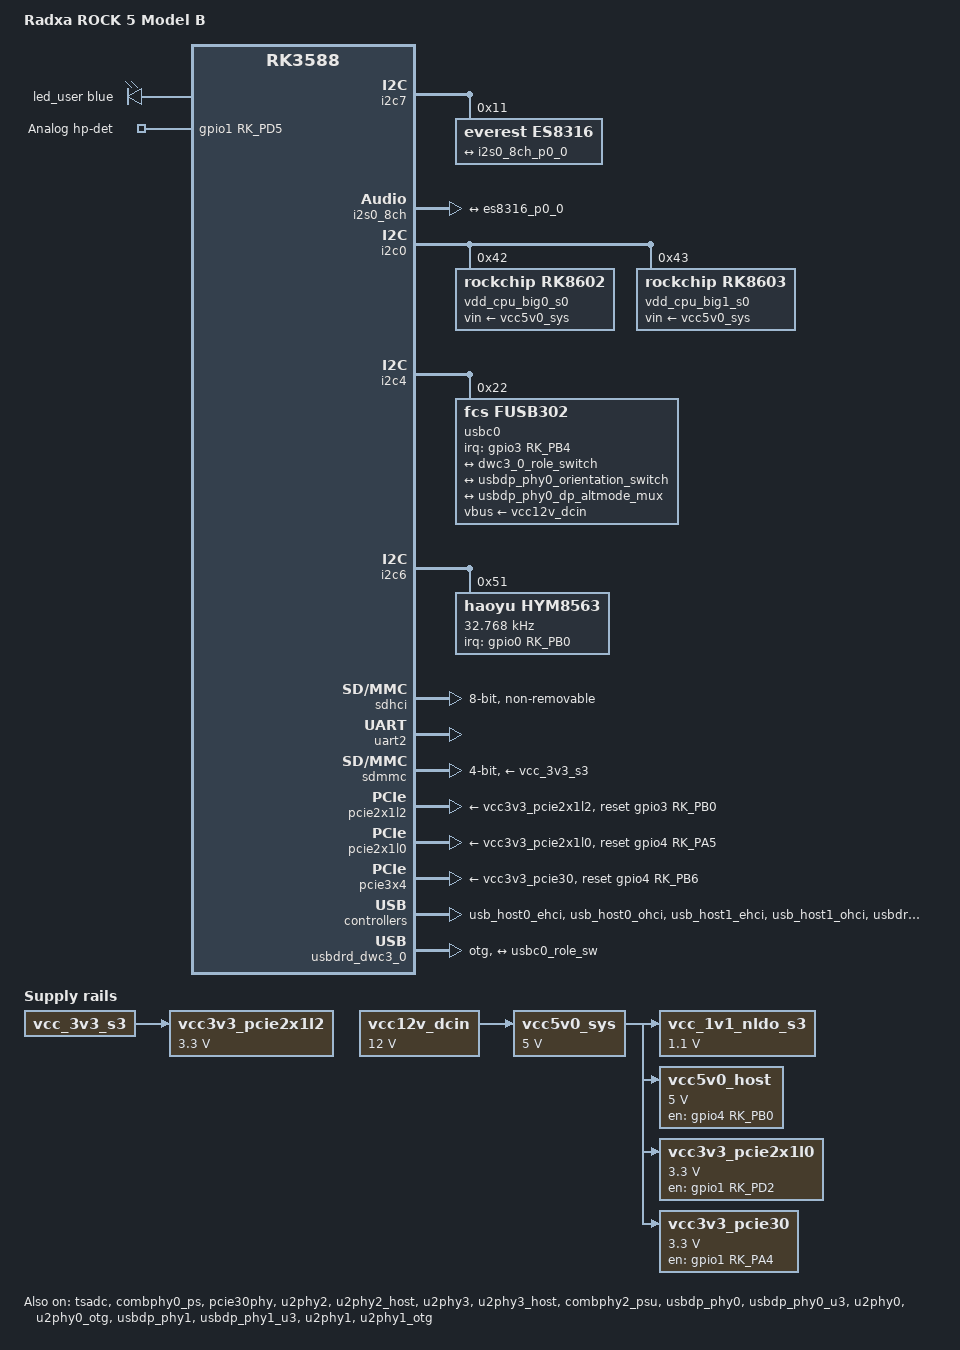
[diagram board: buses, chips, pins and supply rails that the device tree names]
// SPDX-License-Identifier: (GPL-2.0 OR MIT)

/dts-v1/;

#include <dt-bindings/gpio/gpio.h>
#include <dt-bindings/pinctrl/rockchip.h>
#include <dt-bindings/usb/pd.h>
#include <dt-bindings/leds/common.h>
#include "rk3588.dtsi"
#include "rk3588-rk806-single.dtsi"

/ {
	model = "Radxa ROCK 5 Model B";
	compatible = "radxa,rock-5b", "rockchip,rk3588";

	aliases {
		mmc0 = &sdhci;
		mmc1 = &sdmmc;
		serial2 = &uart2;
	};

	chosen {
		stdout-path = "serial2:1500000n8";
	};

	vcc12v_dcin: vcc12v-dcin {
		compatible = "regulator-fixed";
		regulator-name = "vcc12v_dcin";
		regulator-always-on;
		regulator-boot-on;
		regulator-min-microvolt = <12000000>;
		regulator-max-microvolt = <12000000>;
	};

	vcc5v0_sys: vcc5v0-sys {
		compatible = "regulator-fixed";
		regulator-name = "vcc5v0_sys";
		regulator-always-on;
		regulator-boot-on;
		regulator-min-microvolt = <5000000>;
		regulator-max-microvolt = <5000000>;
		vin-supply = <&vcc12v_dcin>;
	};

	vcc_1v1_nldo_s3: vcc-1v1-nldo-s3 {
		compatible = "regulator-fixed";
		regulator-name = "vcc_1v1_nldo_s3";
		regulator-always-on;
		regulator-boot-on;
		regulator-min-microvolt = <1100000>;
		regulator-max-microvolt = <1100000>;
		vin-supply = <&vcc5v0_sys>;
 	};

	vcc5v0_host: vcc5v0-host  {
		compatible = "regulator-fixed";
		regulator-name = "vcc5v0_host";
		regulator-boot-on;
		regulator-always-on;
		regulator-min-microvolt = <5000000>;
		regulator-max-microvolt = <5000000>;
		enable-active-high;
		gpio = <&gpio4 RK_PB0 GPIO_ACTIVE_HIGH>;
		pinctrl-names = "default";
		vin-supply = <&vcc5v0_sys>;
	};

	vcc3v3_pcie2x1l0: vcc3v3-pcie2x1l0 {
		compatible = "regulator-fixed";
		regulator-name = "vcc3v3_pcie2x1l0";
		regulator-min-microvolt = <3300000>;
		regulator-max-microvolt = <3300000>;
		enable-active-high;
		regulator-boot-on;
		regulator-always-on;
		gpios = <&gpio1 RK_PD2 GPIO_ACTIVE_HIGH>;
		startup-delay-us = <50000>;
		vin-supply = <&vcc5v0_sys>;
	};

	vcc3v3_pcie2x1l2: vcc3v3-pcie2x1l2 {
		compatible = "regulator-fixed";
		regulator-name = "vcc3v3_pcie2x1l2";
		regulator-min-microvolt = <3300000>;
		regulator-max-microvolt = <3300000>;
		startup-delay-us = <5000>;
		vin-supply = <&vcc_3v3_s3>;
	};

	vcc3v3_pcie30: vcc3v3-pcie30 {
		compatible = "regulator-fixed";
		regulator-name = "vcc3v3_pcie30";
		regulator-min-microvolt = <3300000>;
		regulator-max-microvolt = <3300000>;
		enable-active-high;
		gpios = <&gpio1 RK_PA4 GPIO_ACTIVE_HIGH>;
		startup-delay-us = <5000>;
		vin-supply = <&vcc5v0_sys>;
	};

	leds {
		compatible = "gpio-leds";

		led_user: led-0 {
			gpio = <&gpio0 RK_PB7 GPIO_ACTIVE_HIGH>;
			color = <LED_COLOR_ID_BLUE>;
			function = LED_FUNCTION_DISK_ACTIVITY;
			linux,default-trigger = "mmc1";
			pinctrl-names = "default";
			pinctrl-0 = <&led_user_en>;
		};
	};

	sound {
		compatible = "audio-graph-card";
		label = "Analog";

		widgets = "Microphone", "Mic Jack",
			  "Headphone", "Headphones";

		routing = "MIC2", "Mic Jack",
			  "Headphones", "HPOL",
			  "Headphones", "HPOR";

		dais = <&i2s0_8ch_p0>;
		hp-det-gpio = <&gpio1 RK_PD5 GPIO_ACTIVE_HIGH>;
		pinctrl-names = "default";
		pinctrl-0 = <&hp_detect>;
	};
};

&i2c7 {
	status = "okay";

	es8316: es8316@11 {
		compatible = "everest,es8316";
		reg = <0x11>;
		clocks = <&cru I2S0_8CH_MCLKOUT>;
		clock-names = "mclk";
		#sound-dai-cells = <0>;

		port {
			es8316_p0_0: endpoint {
				remote-endpoint = <&i2s0_8ch_p0_0>;
			};
		};
	};
};

&i2s0_8ch {
	pinctrl-names = "default";
	pinctrl-0 = <&i2s0_lrck
		     &i2s0_mclk
		     &i2s0_sclk
		     &i2s0_sdi0
		     &i2s0_sdo0>;
	status = "okay";

	i2s0_8ch_p0: port {
		i2s0_8ch_p0_0: endpoint {
			dai-format = "i2s";
			mclk-fs = <256>;
			remote-endpoint = <&es8316_p0_0>;
		};
	};
};

&i2c0 {
	pinctrl-names = "default";
	pinctrl-0 = <&i2c0m2_xfer>;
	status = "okay";

	vdd_cpu_big0_s0: vdd_cpu_big0_mem_s0: regulator@42 {
		compatible = "rockchip,rk8602";
		reg = <0x42>;
		fcs,suspend-voltage-selector = <1>;
		regulator-name = "vdd_cpu_big0_s0";
		regulator-always-on;
		regulator-boot-on;
		regulator-min-microvolt = <550000>;
		regulator-max-microvolt = <1050000>;
		regulator-ramp-delay = <2300>;
		vin-supply = <&vcc5v0_sys>;

		regulator-state-mem {
			regulator-off-in-suspend;
		};
	};

	vdd_cpu_big1_s0: vdd_cpu_big1_mem_s0: regulator@43 {
		compatible = "rockchip,rk8603", "rockchip,rk8602";
		reg = <0x43>;
		fcs,suspend-voltage-selector = <1>;
		regulator-name = "vdd_cpu_big1_s0";
		regulator-always-on;
		regulator-boot-on;
		regulator-min-microvolt = <550000>;
		regulator-max-microvolt = <1050000>;
		regulator-ramp-delay = <2300>;
		vin-supply = <&vcc5v0_sys>;

		regulator-state-mem {
			regulator-off-in-suspend;
		};
	};
};

&i2c4 {
	usbc0: fusb302@22 {
	compatible = "fcs,fusb302";
		reg = <0x22>;
		interrupt-parent = <&gpio3>;
		interrupts = <RK_PB4 IRQ_TYPE_LEVEL_LOW>;
		pinctrl-names = "default";
		pinctrl-0 = <&usbc0_int>;
		vbus-supply = <&vcc12v_dcin>;
		status = "okay";

		ports {
			#address-cells = <1>;
			#size-cells = <0>;

			port@0 {
				reg = <0>;
				usbc0_role_sw: endpoint@0 {
				remote-endpoint = <&dwc3_0_role_switch>;
				};
			};
		};

		usb_con: connector {
			compatible = "usb-c-connector";
			label = "USB-C";
			data-role = "dual";
			power-role = "dual";
			try-power-role = "sink";
			op-sink-microwatt = <1000000>;
			sink-pdos =
			<PDO_FIXED(5000, 1000, PDO_FIXED_USB_COMM)>;
			source-pdos =
			<PDO_FIXED(5000, 3000, PDO_FIXED_USB_COMM)>;

			altmodes {
				#address-cells = <1>;
				#size-cells = <0>;

				altmode@0 {
					reg = <0>;
					svid = <0xff01>;
					vdo = <0xffffffff>;
				};
			};

			ports {
				#address-cells = <1>;
				#size-cells = <0>;

				port@0 {
					reg = <0>;
					usbc0_orien_sw: endpoint {
						remote-endpoint = <&usbdp_phy0_orientation_switch>;
					};
				};

				port@1 {
					reg = <1>;
					dp_altmode_mux: endpoint {
						remote-endpoint = <&usbdp_phy0_dp_altmode_mux>;
					};
				};
			};
		};
	};
};

&cpu_l0 {
	cpu-supply = <&vdd_cpu_lit_s0>;
	mem-supply = <&vdd_cpu_lit_mem_s0>;
};

&cpu_b0 {
	cpu-supply = <&vdd_cpu_big0_s0>;
	mem-supply = <&vdd_cpu_big0_mem_s0>;
};

&cpu_b1 {
	cpu-supply = <&vdd_cpu_big0_s0>;
	mem-supply = <&vdd_cpu_big0_mem_s0>;
};

&cpu_b2 {
	cpu-supply = <&vdd_cpu_big1_s0>;
	mem-supply = <&vdd_cpu_big1_mem_s0>;
};

&cpu_b3 {
	cpu-supply = <&vdd_cpu_big1_s0>;
	mem-supply = <&vdd_cpu_big1_mem_s0>;
};

&tsadc {
	status = "okay";
};

&i2c6 {
	status = "okay";

	hym8563: rtc@51 {
		compatible = "haoyu,hym8563";
		reg = <0x51>;
		#clock-cells = <0>;
		clock-frequency = <32768>;
		clock-output-names = "hym8563";
		pinctrl-names = "default";
		pinctrl-0 = <&hym8563_int>;
		interrupt-parent = <&gpio0>;
		interrupts = <RK_PB0 IRQ_TYPE_LEVEL_LOW>;
		wakeup-source;
	};
};

&pinctrl {
	hym8563 {
		hym8563_int: hym8563-int {
			rockchip,pins = <0 RK_PB0 RK_FUNC_GPIO &pcfg_pull_none>;
		};
	};
};

&sdhci {
	bus-width = <8>;
	no-sdio;
	no-sd;
	non-removable;
	max-frequency = <200000000>;
	mmc-hs400-1_8v;
	mmc-hs400-enhanced-strobe;
	status = "okay";
};

&uart2 {
	pinctrl-0 = <&uart2m0_xfer>;
	status = "okay";
};

&sdmmc {
	max-frequency = <150000000>;
	no-sdio;
	no-mmc;
	bus-width = <4>;
	cap-mmc-highspeed;
	cap-sd-highspeed;
	disable-wp;
	sd-uhs-sdr104;
	vmmc-supply = <&vcc_3v3_s3>;
	vqmmc-supply = <&vccio_sd_s0>;
	pinctrl-names = "default";
	pinctrl-0 = <&sdmmc_bus4 &sdmmc_clk &sdmmc_cmd &sdmmc_det>;
	status = "okay";
};

&pcie2x1l2 {
	reset-gpios = <&gpio3 RK_PB0 GPIO_ACTIVE_HIGH>;
	vpcie3v3-supply = <&vcc3v3_pcie2x1l2>;
	status = "okay";
};

&pcie2x1l0 {
	reset-gpios = <&gpio4 RK_PA5 GPIO_ACTIVE_HIGH>;
	vpcie3v3-supply = <&vcc3v3_pcie2x1l0>;
	status = "okay";
};

&combphy0_ps {
	status = "okay";
};

&pcie30phy {
	status = "okay";
};

&pcie3x4 {
	reset-gpios = <&gpio4 RK_PB6 GPIO_ACTIVE_HIGH>;
	vpcie3v3-supply = <&vcc3v3_pcie30>;
	status = "okay";
};

&u2phy2 {
	status = "okay";
};

&u2phy2_host {
	status = "okay";
};

&u2phy3 {
	status = "okay";
};

&u2phy3_host {
	status = "okay";
};

&usb_host0_ehci {
	status = "okay";
};

&usb_host0_ohci {
	status = "okay";
};

&usb_host1_ehci {
	status = "okay";
};

&usb_host1_ohci {
	status = "okay";
};

&combphy2_psu {
	status = "okay";
};

&combphy0_ps {
	status = "okay";
};

&usbdp_phy0 {
	orientation-switch;
	svid = <0xff01>;
	sbu1-dc-gpios = <&gpio4 RK_PA6 GPIO_ACTIVE_HIGH>;
	sbu2-dc-gpios = <&gpio4 RK_PA7 GPIO_ACTIVE_HIGH>;
	status = "okay";

	port {
		#address-cells = <1>;
		#size-cells = <0>;
		usbdp_phy0_orientation_switch: endpoint@0 {
			reg = <0>;
			remote-endpoint = <&usbc0_orien_sw>;
		};

		usbdp_phy0_dp_altmode_mux: endpoint@1 {
			reg = <1>;
			remote-endpoint = <&dp_altmode_mux>;
		};
	};
};

&usbdp_phy0_u3 {
	status = "okay";
};

&usbdrd3_0 {
	status = "okay";
};

&usbdrd_dwc3_0 {
	dr_mode = "otg";
	usb-role-switch;

	port {
		#address-cells = <1>;
		#size-cells = <0>;
		dwc3_0_role_switch: endpoint@0 {
			reg = <0>;
			remote-endpoint = <&usbc0_role_sw>;
		};
	};
};

&u2phy0 {
	status = "okay";
};

&u2phy0_otg {
	rockchip,typec-vbus-det;
	status = "okay";
};

&usbdp_phy1 {
	rockchip,dp-lane-mux = <2 3>;
	status = "okay";
};

&usbdp_phy1_u3 {
	status = "okay";
};

&usbdrd3_1 {
	status = "okay";
};

&u2phy1 {
	status = "okay";
};

&u2phy1_otg {
	status = "okay";
};

&pinctrl {
	leds {
		led_user_en: led_user_en {
			rockchip,pins = <3 RK_PD5 RK_FUNC_GPIO &pcfg_pull_none>;
		};
	};

	usb {
		vcc5v0_host_en: vcc5v0-host-en {
			rockchip,pins = <4 RK_PB0 RK_FUNC_GPIO &pcfg_pull_none>;
		};

		vcc5v0_otg_en: vcc5v0-otg-en {
			rockchip,pins = <2 RK_PC5 RK_FUNC_GPIO &pcfg_pull_none>;
		};
	};

	sound {
		hp_detect: hp-detect {
			rockchip,pins = <1 RK_PD5 RK_FUNC_GPIO &pcfg_pull_none>;
		};
	};

	usb-typec {
		usbc0_int: usbc0-int {
			rockchip,pins = <3 RK_PB4 RK_FUNC_GPIO &pcfg_pull_up>;
		};

		typec5v_pwren: typec5v-pwren {
			rockchip,pins = <4 RK_PD0 RK_FUNC_GPIO &pcfg_pull_none>;
		};
	};
};
